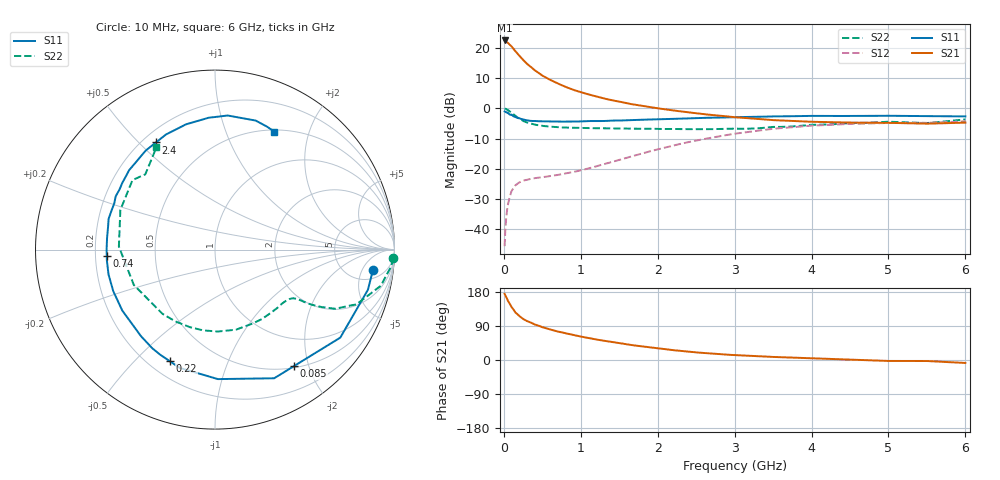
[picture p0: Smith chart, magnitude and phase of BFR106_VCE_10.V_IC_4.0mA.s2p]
! Infineon Technologies  Discrete & RF Semiconductors
! BFR106
! VCE =  10. V,  IC =  4.0 mA
! Common Emitter S-Parameters:  Nov 2015
# GHz  S  MA  R  50
!  f  S11  S21  S12  S22
! GHz  MAG  ANG  MAG  ANG  MAG  ANG  MAG  ANG
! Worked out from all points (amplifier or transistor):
!   210 points, 10 MHz to 6 GHz, reference 50 ohm
!   highest |S21| = 22.4 dB at 10 MHz (marker M1)
!   |S21| within 3 dB of that: start of sweep to 132.6 MHz
!   unconditionally stable (mu >= 1): 675.2 MHz to 1.823 GHz; 4.827 GHz to end of sweep
!   at 185 MHz: K = 0.34, MSG = 21.3 dB, |S12| = -24.8 dB
!   at 1.52 GHz: K = 1.12, MAG = 7.4 dB, |S12| = -16.9 dB
!   at 6 GHz: K = 1.02, MAG = -1.1 dB, |S12| = -4.3 dB
!   S11 on the Smith chart (normalised r, x): 10 MHz: 8, -8; 85 MHz: 0.52, -1.77; 220 MHz: 0.28, -0.64; 740 MHz: 0.25, -0.03; 2.4 GHz: 0.25, +0.56; 6 GHz: 0.52, +1.49
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0.01  0.8876 -7.3  13.2 174.6  0.0053 88.4  0.9947 -2.7
0.02  0.881 -14.7  13.05 170.8  0.0102 83.4  0.987 -5.3
0.05  0.8531 -35.1  12.18 157.1  0.0247 71.8  0.9455 -12.3
0.085  0.7842 -55.9  10.96 145.5  0.0374 61.2  0.8732 -18.3
0.1  0.7891 -65.3  10.6 139.8  0.0431 58.6  0.8454 -21.1
0.15  0.7217 -88.7  8.783 125.5  0.0535 48.0  0.7466 -26.2
0.2  0.6877 -106.6  7.418 116.2  0.0597 43.2  0.6758 -28.3
0.22  0.6709 -112.0  6.958 113.3  0.0614 41.7  0.6534 -28.8
0.26  0.6513 -122.5  6.13 107.2  0.0644 39.4  0.6127 -29.8
0.3  0.6344 -130.6  5.442 102.8  0.0663 38.5  0.5842 -30.3
0.4  0.6182 -146.7  4.265 93.9  0.0703 37.6  0.538 -30.9
0.5  0.6123 -157.8  3.475 86.6  0.0726 38.8  0.5128 -31.9
0.6  0.6092 -166.8  2.963 80.6  0.0763 41.4  0.4984 -33.5
0.74  0.6041 -176.7  2.446 73.5  0.0812 45.9  0.4855 -36.5
1.02  0.6095 167.7  1.816 61.2  0.0959 55.1  0.475 -43.6
1.4  0.6279 151.8  1.364 47.8  0.1293 64.5  0.4669 -55.9
2.02  0.6599 130.4  0.994 30.3  0.2131 67.0  0.4569 -80.5
2.4  0.6815 118.8  0.861 21.9  0.277 63.7  0.4548 -98.4
3.1  0.7181 101.1  0.699 11.9  0.3953 51.3  0.4598 -134.9
4.1  0.7492 83.3  0.596 3.9  0.5241 30.2  0.537 173.8
5.1  0.7512 71.4  0.572 -2.5  0.5742 12.4  0.5946 138.5
6  0.7358 63.3  0.581 -7.8  0.6111 0.4  0.6564 119.8
